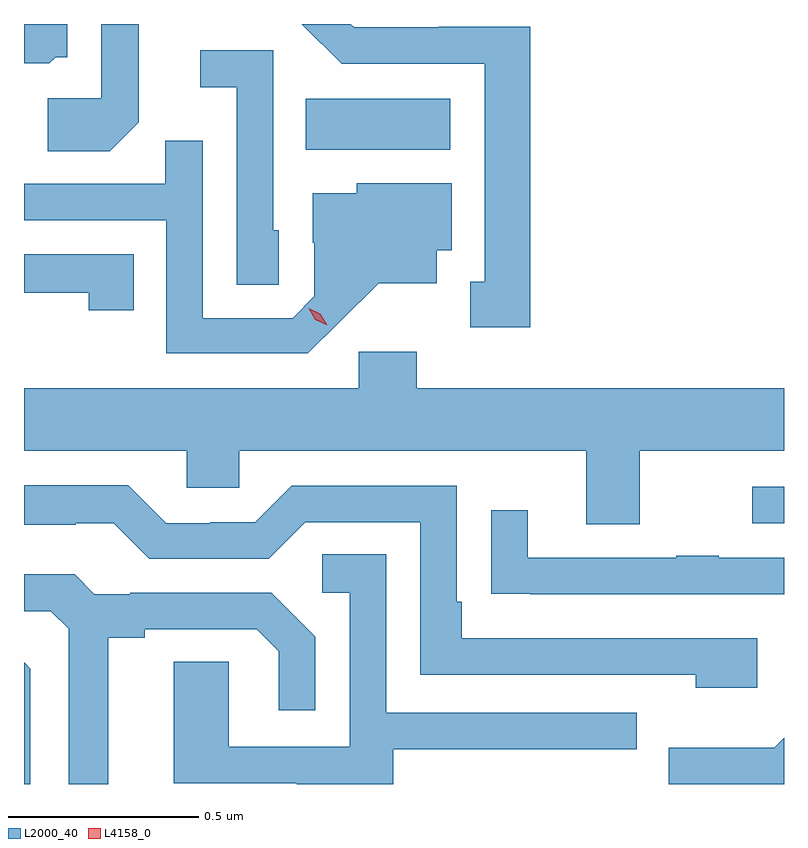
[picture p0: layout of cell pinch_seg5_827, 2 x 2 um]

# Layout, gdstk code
import gdstk
lib = gdstk.Library(unit=1e-6, precision=1e-09)
def R(c, l, rs):  # rectangles x0, y0, x1, y1
    for r in rs: c.add(gdstk.rectangle(r[:2], r[2:], *l))
def P(c, l, *ps):  # polygons
    for p in ps: c.add(gdstk.Polygon(p, *l))
L2000_40 = (2000, 40)
L4158_0 = (4158, 0)

pinch_seg5_827 = lib.new_cell('pinch_seg5_827')
R(pinch_seg5_827, L2000_40, [(759.033,908.517,759.117,908.613), (757.858,909.5,758.239,909.634)])
P(pinch_seg5_827, L2000_40, [(758.449,909.824),(758.208,909.824),(758.208,909.822),(757.986,909.822),(757.977,909.831),(757.848,909.831),(757.953,909.726),(758.33,909.726),(758.33,909.153),(758.291,909.153),(758.291,909.033),(758.449,909.033)],
  [(757.419,909.572),(757.419,909.831),(757.32,909.831),(757.32,909.636),(757.179,909.636),(757.179,909.496),(757.343,909.496)],
  [(757.2,909.744),(757.231,909.744),(757.231,909.831),(757.117,909.831),(757.117,909.728),(757.184,909.728)],
  [(757.788,909.288),(757.773,909.288),(757.773,909.762),(757.581,909.762),(757.581,909.665),(757.677,909.665),(757.677,909.145),(757.788,909.145)],
  [(757.948,909.047),(758.051,909.149),(758.203,909.149),(758.203,909.236),(758.242,909.236),(758.242,909.412),(757.992,909.412),(757.992,909.385),(757.877,909.385),(757.877,909.256),(757.881,909.256),(757.881,909.114),(757.824,909.057),(757.587,909.057),(757.587,909.524),(757.489,909.524),(757.489,909.411),(757.117,909.411),(757.117,909.315),(757.491,909.315),(757.491,908.964),(757.864,908.964)],
  [(757.406,909.225),(757.117,909.225),(757.117,909.124),(757.288,909.124),(757.288,909.078),(757.406,909.078)],
  [(758.737,908.708),(759.117,908.708),(759.117,908.872),(758.15,908.872),(758.15,908.968),(757.998,908.968),(757.998,908.872),(757.117,908.872),(757.117,908.708),(757.545,908.708),(757.545,908.61),(757.683,908.61),(757.683,908.708),(758.597,908.708),(758.597,908.514),(758.737,908.514)],
  [(759.046,908.214),(758.269,908.214),(758.269,908.311),(758.256,908.311),(758.256,908.616),(757.821,908.616),(757.725,908.52),(757.607,908.52),(757.607,908.517),(757.491,908.517),(757.391,908.617),(757.117,908.617),(757.117,908.513),(757.253,908.513),(757.253,908.517),(757.353,908.517),(757.446,908.424),(757.761,908.424),(757.857,908.52),(758.16,908.52),(758.16,908.118),(758.885,908.118),(758.885,908.084),(759.046,908.084)],
  [(759.117,908.427),(758.945,908.427),(758.945,908.432),(758.833,908.432),(758.833,908.427),(758.443,908.427),(758.443,908.551),(758.347,908.551),(758.347,908.332),(758.449,908.332),(758.449,908.331),(759.117,908.331)],
  [(758.089,907.923),(758.729,907.923),(758.729,908.019),(758.07,908.019),(758.07,908.435),(757.902,908.435),(757.902,908.334),(757.974,908.334),(757.974,907.929),(757.656,907.929),(757.656,908.153),(757.511,908.153),(757.511,907.833),(757.835,907.833),(757.835,907.831),(758.089,907.831)],
  [(757.339,908.216),(757.435,908.216),(757.435,908.238),(757.73,908.238),(757.787,908.181),(757.787,908.025),(757.884,908.025),(757.884,908.218),(757.768,908.334),(757.396,908.334),(757.396,908.331),(757.302,908.331),(757.25,908.383),(757.117,908.383),(757.117,908.286),(757.188,908.286),(757.235,908.239),(757.235,907.831),(757.339,907.831)],
  [(757.134,908.134),(757.117,908.151),(757.117,907.831),(757.134,907.831)],
  [(759.117,907.953),(759.091,907.927),(758.814,907.927),(758.814,907.831),(759.117,907.831)])
P(pinch_seg5_827, L4158_0, [(757.915,909.038),(757.884,909.053),(757.866,909.083),(757.866,909.083),(757.866,909.083),(757.897,909.068),(757.915,909.038),(757.915,909.038)])

lib.write_gds('pinch_seg5_827.gds')
